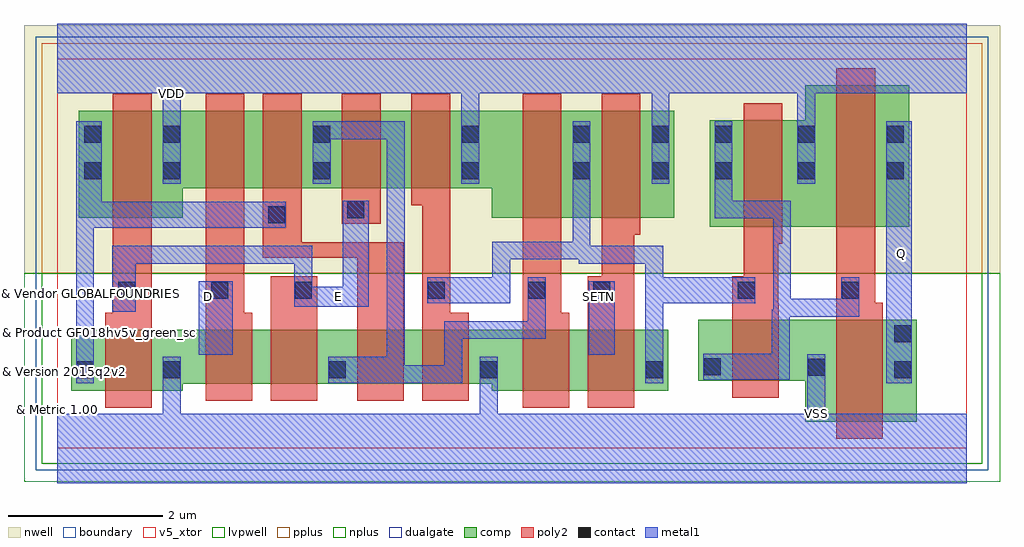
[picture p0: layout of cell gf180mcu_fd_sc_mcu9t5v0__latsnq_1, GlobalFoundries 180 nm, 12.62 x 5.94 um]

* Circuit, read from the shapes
.subckt gf180mcu_fd_sc_mcu9t5v0__latsnq_1 D E Q SETN VDD VSS
XM1 VSS E n1 VSUBS nfet_05v0 w=0.79u l=0.6u
XM2 n2 D VSS VSUBS nfet_05v0 w=0.7u l=0.6u
XM3 n3 E n2 VSUBS nfet_05v0 w=0.7u l=0.6u
XM4 n4 n1 n3 VSUBS nfet_05v0 w=0.7u l=0.6u
XM5 VSS n5 n4 VSUBS nfet_05v0 w=0.7u l=0.6u
XM6 n6 n3 VSS VSUBS nfet_05v0 w=0.79u l=0.6u
XM7 n5 SETN n6 VSUBS nfet_05v0 w=0.79u l=0.6u
XM8 VSS n5 n7 VSUBS nfet_05v0 w=0.79u l=0.6u
XM9 Q n7 VSS VSUBS nfet_05v0 w=1.32u l=0.6u
XM10 VDD E n1 n8 pfet_05v0 w=1.38u l=0.5u
XM11 n9 D VDD n8 pfet_05v0 w=1u l=0.5u
XM12 n3 n1 n9 n8 pfet_05v0 w=1u l=0.5u
XM13 n10 E n3 n8 pfet_05v0 w=1u l=0.5u
XM14 VDD n5 n10 n8 pfet_05v0 w=1u l=0.5u
XM15 n5 n3 VDD n8 pfet_05v0 w=1.38u l=0.5u
XM16 VDD SETN n5 n8 pfet_05v0 w=1.38u l=0.5u
XM17 VDD n5 n7 n8 pfet_05v0 w=1.38u l=0.5u
XM18 Q n7 VDD n8 pfet_05v0 w=1.83u l=0.5u
.ends

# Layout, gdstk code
import gdstk
lib = gdstk.Library(unit=1e-6, precision=1e-09)
def R(c, l, rs):  # rectangles x0, y0, x1, y1
    for r in rs: c.add(gdstk.rectangle(r[:2], r[2:], *l))
def P(c, l, *ps):  # polygons
    for p in ps: c.add(gdstk.Polygon(p, *l))
boundary = (0, 0)
nwell = (21, 0)
comp = (22, 0)
poly2 = (30, 0)
pplus = (31, 0)
nplus = (32, 0)
contact = (33, 0)
metal1 = (34, 0)
dualgate = (55, 0)
v5_xtor = (112, 1)
lvpwell = (204, 0)

gf180mcu_fd_sc_mcu9t5v0_ = lib.new_cell('gf180mcu_fd_sc_mcu9t5v0__latsnq_1')
R(gf180mcu_fd_sc_mcu9t5v0_, boundary, [(0,0,11.76,5.04)])
R(gf180mcu_fd_sc_mcu9t5v0_, nwell, [(-0.43,2.265,12.19,5.47)])
P(gf180mcu_fd_sc_mcu9t5v0_, comp, [(0.18,0.745),(0.18,1.535),(7.9,1.535),(7.9,0.745),(5.62,0.745),(5.62,0.835),(1.62,0.835),(1.62,0.745)],
  [(0.28,2.985),(0.28,4.365),(7.98,4.365),(7.98,2.985),(5.62,2.985),(5.62,3.365),(1.62,3.365),(1.62,2.985)],
  [(8.435,2.865),(8.435,4.245),(9.675,4.245),(9.675,4.695),(11.015,4.695),(11.015,2.865)],
  [(9.675,0.345),(9.675,0.875),(8.29,0.875),(8.29,1.665),(11.115,1.665),(11.115,0.345)])
R(gf180mcu_fd_sc_mcu9t5v0_, poly2, [(2.76,0.615,3.36,2.225), (3.68,2.905,4.18,4.585)])
P(gf180mcu_fd_sc_mcu9t5v0_, poly2, [(0.62,0.525),(0.62,1.755),(0.72,1.755),(0.72,4.585),(1.22,4.585),(1.22,0.525)],
  [(1.92,0.615),(1.92,4.585),(2.42,4.585),(2.42,1.755),(2.52,1.755),(2.52,0.615)],
  [(3.88,0.615),(3.88,2.465),(2.66,2.465),(2.66,4.585),(3.16,4.585),(3.16,2.665),(4.48,2.665),(4.48,0.615)],
  [(4.72,0.615),(4.72,3.145),(4.58,3.145),(4.58,4.585),(5.08,4.585),(5.08,1.755),(5.32,1.755),(5.32,0.615)],
  [(6.02,0.525),(6.02,4.585),(6.52,4.585),(6.52,1.755),(6.62,1.755),(6.62,0.525)],
  [(6.86,0.525),(6.86,2.225),(7.04,2.225),(7.04,4.585),(7.54,4.585),(7.54,2.765),(7.46,2.765),(7.46,0.525)],
  [(8.73,0.655),(8.73,2.225),(8.875,2.225),(8.875,4.465),(9.375,4.465),(9.375,2.645),(9.325,2.645),(9.325,1.885),(9.33,1.885),(9.33,0.655)],
  [(10.075,0.125),(10.075,4.915),(10.575,4.915),(10.575,1.885),(10.675,1.885),(10.675,0.125)])
R(gf180mcu_fd_sc_mcu9t5v0_, pplus, [(-0.2,2.265,11.96,5.24)])
R(gf180mcu_fd_sc_mcu9t5v0_, nplus, [(-0.2,-0.2,11.96,2.265)])
R(gf180mcu_fd_sc_mcu9t5v0_, contact, [(0.25,0.905,0.47,1.125), (1.37,0.905,1.59,1.125), (3.51,0.905,3.73,1.125), (5.47,0.905,5.69,1.125), (7.61,0.905,7.83,1.125), (10.825,0.905,11.045,1.125), (9.705,0.94,9.925,1.16), (8.36,0.945,8.58,1.165), (10.825,1.375,11.045,1.595), (0.79,1.935,1.01,2.155), (1.99,1.935,2.21,2.155), (3.07,1.935,3.29,2.155), (4.79,1.935,5.01,2.155), (6.09,1.935,6.31,2.155), (6.93,1.935,7.15,2.155), (8.8,1.935,9.02,2.155), (10.145,1.935,10.365,2.155), (2.73,2.91,2.95,3.13), (3.75,2.975,3.97,3.195), (0.35,3.48,0.57,3.7), (1.37,3.48,1.59,3.7), (3.31,3.48,3.53,3.7), (5.23,3.48,5.45,3.7), (6.67,3.48,6.89,3.7), (7.69,3.48,7.91,3.7), (8.505,3.48,8.725,3.7), (9.575,3.48,9.795,3.7), (10.725,3.48,10.945,3.7), (0.35,3.95,0.57,4.17), (1.37,3.95,1.59,4.17), (3.31,3.95,3.53,4.17), (5.23,3.95,5.45,4.17), (6.67,3.95,6.89,4.17), (7.69,3.95,7.91,4.17), (8.505,3.95,8.725,4.17), (9.575,3.95,9.795,4.17), (10.725,3.95,10.945,4.17)])
R(gf180mcu_fd_sc_mcu9t5v0_, metal1, [(10.72,0.845,11.05,4.23), (1.83,1.21,2.27,2.16), (6.87,1.21,7.21,2.16)])
P(gf180mcu_fd_sc_mcu9t5v0_, metal1, [(0.245,0.845),(0.245,4.23),(0.575,4.23),(0.575,3.19),(2.955,3.19),(2.955,2.85),(0.475,2.85),(0.475,0.845)],
  [(0.71,1.77),(0.71,2.62),(3.295,2.62),(3.295,2.09),(3.69,2.09),(3.69,3.2),(4.03,3.2),(4.03,1.83),(3.065,1.83),(3.065,2.39),(1.015,2.39),(1.015,1.77)],
  [(3.505,0.845),(3.505,1.185),(4.26,1.185),(4.26,4),(3.535,4),(3.535,3.42),(3.305,3.42),(3.305,4.23),(4.49,4.23),(4.49,1.075),(5.005,1.075),(5.005,1.645),(6.085,1.645),(6.085,2.215),(6.315,2.215),(6.315,1.415),(5.235,1.415),(5.235,0.845)],
  [(7.605,0.845),(7.605,2.39),(6.745,2.39),(6.745,2.445),(5.855,2.445),(5.855,1.875),(4.785,1.875),(4.785,2.215),(5.625,2.215),(5.625,2.675),(6.665,2.675),(6.665,4.23),(6.895,4.23),(6.895,2.62),(7.835,2.62),(7.835,2.215),(9.025,2.215),(9.025,1.875),(7.835,1.875),(7.835,0.845)],
  [(8.355,0.885),(8.355,1.225),(9.24,1.225),(9.24,1.79),(9.255,1.79),(9.255,2.975),(8.5,2.975),(8.5,4.23),(8.73,4.23),(8.73,3.205),(9.485,3.205),(9.485,1.935),(10.14,1.935),(10.14,2.215),(10.37,2.215),(10.37,1.705),(9.47,1.705),(9.47,0.885)],
  [(0,-0.45),(0,0.45),(1.365,0.45),(1.365,1.185),(1.595,1.185),(1.595,0.45),(5.465,0.45),(5.465,1.185),(5.695,1.185),(5.695,0.45),(9.7,0.45),(9.7,1.22),(9.93,1.22),(9.93,0.45),(11.76,0.45),(11.76,-0.45)],
  [(1.365,3.42),(1.365,4.59),(0,4.59),(0,5.49),(11.76,5.49),(11.76,4.59),(9.8,4.59),(9.8,3.42),(9.57,3.42),(9.57,4.59),(7.915,4.59),(7.915,3.42),(7.685,3.42),(7.685,4.59),(5.455,4.59),(5.455,3.42),(5.225,3.42),(5.225,4.59),(1.595,4.59),(1.595,3.42)])
R(gf180mcu_fd_sc_mcu9t5v0_, dualgate, [(-0.28,-0.28,12.04,5.32)])
R(gf180mcu_fd_sc_mcu9t5v0_, v5_xtor, [(0,0,11.76,5.04)])
R(gf180mcu_fd_sc_mcu9t5v0_, lvpwell, [(-0.43,-0.43,12.19,2.265)])
gf180mcu_fd_sc_mcu9t5v0_.add(gdstk.Label('D', (1.96,1.96), layer=34, texttype=10))
gf180mcu_fd_sc_mcu9t5v0_.add(gdstk.Label('E', (3.64,1.96), layer=34, texttype=10))
gf180mcu_fd_sc_mcu9t5v0_.add(gdstk.Label('Q', (10.92,2.52), layer=34, texttype=10))
gf180mcu_fd_sc_mcu9t5v0_.add(gdstk.Label('SETN', (7,1.96), layer=34, texttype=10))
gf180mcu_fd_sc_mcu9t5v0_.add(gdstk.Label('VDD', (1.48,4.59), layer=34, texttype=10))
gf180mcu_fd_sc_mcu9t5v0_.add(gdstk.Label('VSS', (9.815,0.45), layer=34, texttype=10))
gf180mcu_fd_sc_mcu9t5v0_.add(gdstk.Label('& Vendor GLOBALFOUNDRIES', (0,2), layer=63, texttype=63))
gf180mcu_fd_sc_mcu9t5v0_.add(gdstk.Label('& Product GF018hv5v_green_sc9', (0,1.5), layer=63, texttype=63))
gf180mcu_fd_sc_mcu9t5v0_.add(gdstk.Label('& Version 2015q2v2', (0,1), layer=63, texttype=63))
gf180mcu_fd_sc_mcu9t5v0_.add(gdstk.Label('& Metric 1.00', (0,0.5), layer=63, texttype=63))

lib.write_gds('gf180mcu_fd_sc_mcu9t5v0__latsnq_1.gds')
